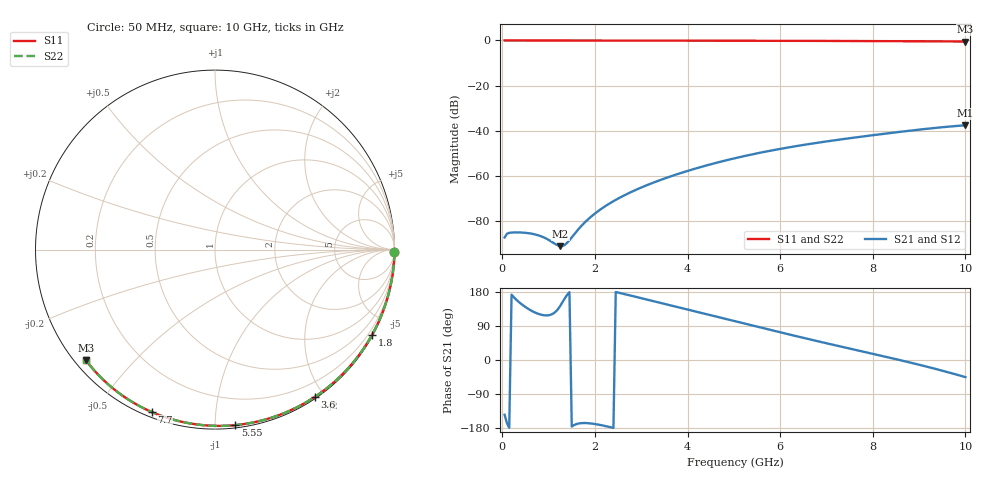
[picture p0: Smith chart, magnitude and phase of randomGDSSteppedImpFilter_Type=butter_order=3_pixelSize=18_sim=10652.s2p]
! freq	dB(S11)	phase(S11)	dB(S12)	phase(S12)
!  dB(S21)	phase(S21)	dB(S22)	phase(S22)
!S-par simulation data
#  GHz  S  DB  R 50
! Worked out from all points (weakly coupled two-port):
!   200 points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, 50 MHz to 10 GHz, reference 50 ohm
!   highest |S21| = -37.62 dB at 10 GHz (marker M1); lowest = -91.2 dB at 1.25 GHz (marker M2)
!   lowest |S11| = -0.5 dB at 10 GHz (marker M3), VSWR 36.76, Z = 1.55 - j18.4 ohm
!   |S11| at or under -10 dB: nowhere
!   |S22| runs from -0.5 to 0.0 dB; largest |S21 - S12| = 0
!   S11 on the Smith chart (normalised r, x): 50 MHz: open; 1.8 GHz: 0.03, -3.92; 3.6 GHz: 0.02, -1.89; 5.55 GHz: 0.02, -1.12; 7.7 GHz: 0.02, -0.68; 10 GHz: 0.03, -0.37
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0.05  -0.00 -0.8  -87.33 -144.5  -87.33 -144.5  -0.00 -0.8
0.65  -0.01 -10.5  -85.72 128.7  -85.72 128.7  -0.01 -10.5
1.25  -0.02 -20.0  -91.19 142.5  -91.19 142.5  -0.02 -20.0
1.75  -0.04 -27.8  -81.30 -166.3  -81.30 -166.3  -0.04 -27.8
1.8  -0.04 -28.6  -80.28 -166.3  -80.28 -166.3  -0.04 -28.6
1.85  -0.04 -29.4  -79.32 -166.7  -79.32 -166.7  -0.04 -29.4
2.15  -0.04 -34.0  -74.46 -172.4  -74.46 -172.4  -0.04 -34.0
2.45  -0.05 -38.6  -70.65 179.5  -70.65 179.5  -0.05 -38.7
2.85  -0.06 -44.7  -66.54 167.7  -66.54 167.7  -0.06 -44.7
3.1  -0.06 -48.5  -64.33 160.2  -64.33 160.2  -0.06 -48.5
3.4  -0.07 -52.9  -61.95 151.2  -61.95 151.2  -0.07 -52.9
3.6  -0.08 -55.9  -60.50 145.3  -60.50 145.3  -0.08 -55.9
4.3  -0.09 -66.0  -56.02 124.3  -56.02 124.3  -0.09 -66.0
5.05  -0.12 -76.5  -52.07 101.7  -52.07 101.7  -0.12 -76.5
5.55  -0.14 -83.4  -49.84 86.6  -49.84 86.6  -0.14 -83.4
6.1  -0.16 -90.7  -47.70 70.2  -47.70 70.2  -0.16 -90.7
6.7  -0.19 -98.6  -45.68 52.7  -45.68 52.7  -0.19 -98.6
7.2  -0.22 -105.0  -44.18 38.5  -44.18 38.5  -0.22 -105.0
7.7  -0.25 -111.3  -42.79 24.6  -42.79 24.6  -0.25 -111.3
8.35  -0.31 -119.4  -41.10 6.5  -41.10 6.5  -0.31 -119.4
9.2  -0.38 -129.8  -39.08 -18.6  -39.08 -18.6  -0.38 -129.9
10  -0.47 -139.5  -37.62 -45.2  -37.62 -45.2  -0.47 -139.5
